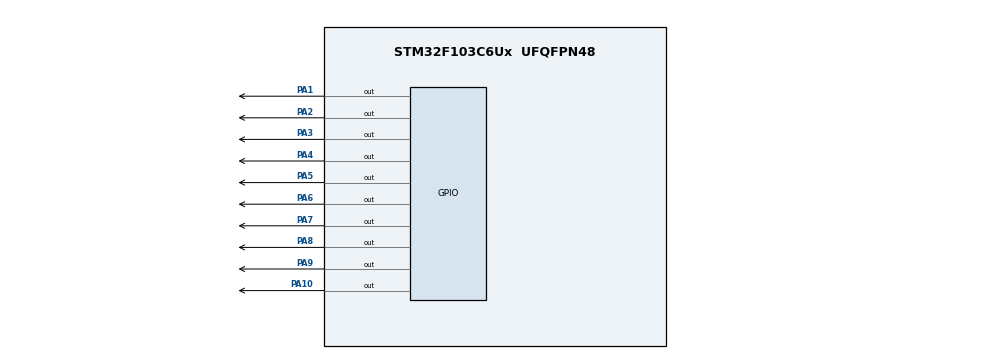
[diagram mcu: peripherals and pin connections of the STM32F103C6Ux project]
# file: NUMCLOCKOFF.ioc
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Mcu.Family=STM32F1
Mcu.Name=STM32F103C6Ux
Mcu.Package=UFQFPN48
NVIC.PriorityGroup=NVIC_PRIORITYGROUP_4
PA1.Signal=GPIO_Output
PA10.Signal=GPIO_Output
PA2.Signal=GPIO_Output
PA3.Signal=GPIO_Output
PA4.Signal=GPIO_Output
PA5.Signal=GPIO_Output
PA6.Signal=GPIO_Output
PA7.Signal=GPIO_Output
PA8.Signal=GPIO_Output
PA9.Signal=GPIO_Output
ProjectManager.HeapSize=0x200
ProjectManager.StackSize=0x400
ProjectManager.TargetToolchain=STM32CubeIDE
RCC.APB1Freq_Value=8000000
RCC.APB2Freq_Value=8000000
VP_SYS_VS_ND.Mode=No_Debug
board=custom

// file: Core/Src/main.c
/* USER CODE BEGIN Header */
/**
  ******************************************************************************
  * @file           : main.c
  * @brief          : Main program body
  ******************************************************************************
  * @attention
  *
  * <h2><center>&copy; Copyright (c) 2022 STMicroelectronics.
  * All rights reserved.</center></h2>
  *
  * This software component is licensed by ST under BSD 3-Clause license,
  * the "License"; You may not use this file except in compliance with the
  * License. You may obtain a copy of the License at:
  *                        opensource.org/licenses/BSD-3-Clause
  *
  ******************************************************************************
  */
/* USER CODE END Header */
#include "main.h"

void SystemClock_Config(void);
static void MX_GPIO_Init(void);
/* USER CODE BEGIN PFP */
int int_to_pin(int input){
	int pin_gate;
		switch(input){
		case 1:
				pin_gate=GPIO_PIN_1;
				break;
		case 2:
				pin_gate=GPIO_PIN_2;
				break;
		case 3:
				pin_gate=GPIO_PIN_3;
				break;
		case 4:
				pin_gate=GPIO_PIN_4;
				break;
		case 5:
				pin_gate=GPIO_PIN_5;
				break;
		case 6:
				pin_gate=GPIO_PIN_6;
				break;
		case 7:
				pin_gate=GPIO_PIN_7;
				break;
		case 8:
				pin_gate=GPIO_PIN_8;
				break;
		case 9:
				pin_gate=GPIO_PIN_9;
				break;
		case 10:
				pin_gate=GPIO_PIN_10;
				break;
		}
		return pin_gate;
}

void setPin(int input, int logic) {
	GPIO_PinState state;
	if (logic) state = GPIO_PIN_SET;
	else state = GPIO_PIN_RESET;
	int pin_gate=int_to_pin(input);
	HAL_GPIO_WritePin(GPIOA, pin_gate, state);
}

void ClearAllClock(int logic){
	if (logic) {
		HAL_GPIO_WritePin(GPIOA, GPIO_PIN_1, RESET);
		HAL_GPIO_WritePin(GPIOA, GPIO_PIN_2, RESET);
		HAL_GPIO_WritePin(GPIOA, GPIO_PIN_3, RESET);
		HAL_GPIO_WritePin(GPIOA, GPIO_PIN_4, RESET);
		HAL_GPIO_WritePin(GPIOA, GPIO_PIN_5, RESET);
		HAL_GPIO_WritePin(GPIOA, GPIO_PIN_6, RESET);
		HAL_GPIO_WritePin(GPIOA, GPIO_PIN_7, RESET);
		HAL_GPIO_WritePin(GPIOA, GPIO_PIN_8, RESET);
		HAL_GPIO_WritePin(GPIOA, GPIO_PIN_9, RESET);
		HAL_GPIO_WritePin(GPIOA, GPIO_PIN_10, RESET);
	}
}

void  setNumberOnClock(int num) {
	HAL_GPIO_WritePin(GPIOA, GPIO_PIN_1|GPIO_PIN_2|GPIO_PIN_3|
			  			GPIO_PIN_4|GPIO_PIN_5,RESET);
	HAL_GPIO_WritePin(GPIOA, GPIO_PIN_6|GPIO_PIN_7|GPIO_PIN_8|
			  	 		GPIO_PIN_9|GPIO_PIN_10, SET);
	switch (num) {
	case 0:
		HAL_GPIO_WritePin(GPIOA, GPIO_PIN_3, SET);
		HAL_GPIO_WritePin(GPIOA, GPIO_PIN_6, RESET);
		break;
	case 1:
		HAL_GPIO_WritePin(GPIOA, GPIO_PIN_4, SET);
		HAL_GPIO_WritePin(GPIOA, GPIO_PIN_6, RESET);
		break;
	case 2:
		HAL_GPIO_WritePin(GPIOA, GPIO_PIN_5, SET);
		HAL_GPIO_WritePin(GPIOA, GPIO_PIN_7, RESET);
		break;
	case 3:
		setPin(5,1);
		setPin(8,0);
		break;
	case 4:
		setPin(5,1);
		setPin(9,0);
		break;
	case 5:
		setPin(4,1);
		setPin(10,0);
		break;
	case 6:
		setPin(3,1);
		setPin(10,0);
		break;
	case 7:
		setPin(2,1);
		setPin(10,0);
		break;
	case 8:
		setPin(1,1);
		setPin(9,0);
		break;
	case 9:
		setPin(1,1);
		setPin(8,0);
		break;
	case 10:
		setPin(1,1);
		setPin(7,0);
		break;
	case 11:
		setPin(2,1);
		setPin(6,0);
		break;
	}
}

void  clearNumberOnClock(int num) {
	HAL_GPIO_WritePin(GPIOA, GPIO_PIN_1|GPIO_PIN_2|GPIO_PIN_3|
			  			GPIO_PIN_4|GPIO_PIN_5,RESET);
	HAL_GPIO_WritePin(GPIOA, GPIO_PIN_6|GPIO_PIN_7|GPIO_PIN_8|
			  	 		GPIO_PIN_9|GPIO_PIN_10, SET);
	switch (num) {
	case 0:
		HAL_GPIO_WritePin(GPIOA, GPIO_PIN_3, RESET);
		HAL_GPIO_WritePin(GPIOA, GPIO_PIN_6, RESET);
		break;
	case 1:
		HAL_GPIO_WritePin(GPIOA, GPIO_PIN_4, RESET);
		HAL_GPIO_WritePin(GPIOA, GPIO_PIN_6, RESET);
		break;
	case 2:
		HAL_GPIO_WritePin(GPIOA, GPIO_PIN_5, RESET);
		HAL_GPIO_WritePin(GPIOA, GPIO_PIN_7, RESET);
		break;
	case 3:
		setPin(5,0);
		setPin(8,0);
		break;
	case 4:
		setPin(5,0);
		setPin(9,0);
		break;
	case 5:
		setPin(4,0);
		setPin(10,0);
		break;
	case 6:
		setPin(3,0);
		setPin(10,0);
		break;
	case 7:
		setPin(2,0);
		setPin(10,0);
		break;
	case 8:
		setPin(1,0);
		setPin(9,0);
		break;
	case 9:
		setPin(1,0);
		setPin(8,0);
		break;
	case 10:
		setPin(1,0);
		setPin(7,0);
		break;
	case 11:
		setPin(2,0);
		setPin(6,0);
		break;
	}
}
/* USER CODE END PFP */

int main(void)
{

  /* MCU Configuration--------------------------------------------------------*/

  /* Reset of all peripherals, Initializes the Flash interface and the Systick. */
  HAL_Init();

  /* Configure the system clock */
  SystemClock_Config();

  /* Initialize all configured peripherals */
  MX_GPIO_Init();

  /* Infinite loop */
  /* USER CODE BEGIN WHILE */
  while (1)
  {
	  setNumberOnClock(2);
	  HAL_Delay(1000);
	  clearNumberOnClock(2);
	  HAL_Delay(1000);
    /* USER CODE END WHILE */

  }
}

void SystemClock_Config(void)
{
  RCC_OscInitTypeDef RCC_OscInitStruct = {0};
  RCC_ClkInitTypeDef RCC_ClkInitStruct = {0};

  /** Initializes the RCC Oscillators according to the specified parameters
  * in the RCC_OscInitTypeDef structure.
  */
  RCC_OscInitStruct.OscillatorType = RCC_OSCILLATORTYPE_HSI;
  RCC_OscInitStruct.HSIState = RCC_HSI_ON;
  RCC_OscInitStruct.HSICalibrationValue = RCC_HSICALIBRATION_DEFAULT;
  RCC_OscInitStruct.PLL.PLLState = RCC_PLL_NONE;
  if (HAL_RCC_OscConfig(&RCC_OscInitStruct) != HAL_OK)
  {
    Error_Handler();
  }
  /** Initializes the CPU, AHB and APB buses clocks
  */
  RCC_ClkInitStruct.ClockType = RCC_CLOCKTYPE_HCLK|RCC_CLOCKTYPE_SYSCLK
                              |RCC_CLOCKTYPE_PCLK1|RCC_CLOCKTYPE_PCLK2;
  RCC_ClkInitStruct.SYSCLKSource = RCC_SYSCLKSOURCE_HSI;
  RCC_ClkInitStruct.AHBCLKDivider = RCC_SYSCLK_DIV1;
  RCC_ClkInitStruct.APB1CLKDivider = RCC_HCLK_DIV1;
  RCC_ClkInitStruct.APB2CLKDivider = RCC_HCLK_DIV1;

  if (HAL_RCC_ClockConfig(&RCC_ClkInitStruct, FLASH_LATENCY_0) != HAL_OK)
  {
    Error_Handler();
  }
}

static void MX_GPIO_Init(void)
{
  GPIO_InitTypeDef GPIO_InitStruct = {0};

  /* GPIO Ports Clock Enable */
  __HAL_RCC_GPIOA_CLK_ENABLE();

  /*Configure GPIO pin Output Level */
  HAL_GPIO_WritePin(GPIOA, GPIO_PIN_1|GPIO_PIN_2|GPIO_PIN_3|GPIO_PIN_4
                          |GPIO_PIN_5|GPIO_PIN_6|GPIO_PIN_7|GPIO_PIN_8
                          |GPIO_PIN_9|GPIO_PIN_10, GPIO_PIN_RESET);

  /*Configure GPIO pins : PA1 PA2 PA3 PA4
                           PA5 PA6 PA7 PA8
                           PA9 PA10 */
  GPIO_InitStruct.Pin = GPIO_PIN_1|GPIO_PIN_2|GPIO_PIN_3|GPIO_PIN_4
                          |GPIO_PIN_5|GPIO_PIN_6|GPIO_PIN_7|GPIO_PIN_8
                          |GPIO_PIN_9|GPIO_PIN_10;
  GPIO_InitStruct.Mode = GPIO_MODE_OUTPUT_PP;
  GPIO_InitStruct.Pull = GPIO_NOPULL;
  GPIO_InitStruct.Speed = GPIO_SPEED_FREQ_LOW;
  HAL_GPIO_Init(GPIOA, &GPIO_InitStruct);

}

void Error_Handler(void)
{
  __disable_irq();
  while (1)
  {
  }
}

/************************ (C) COPYRIGHT STMicroelectronics *****END OF FILE****/
